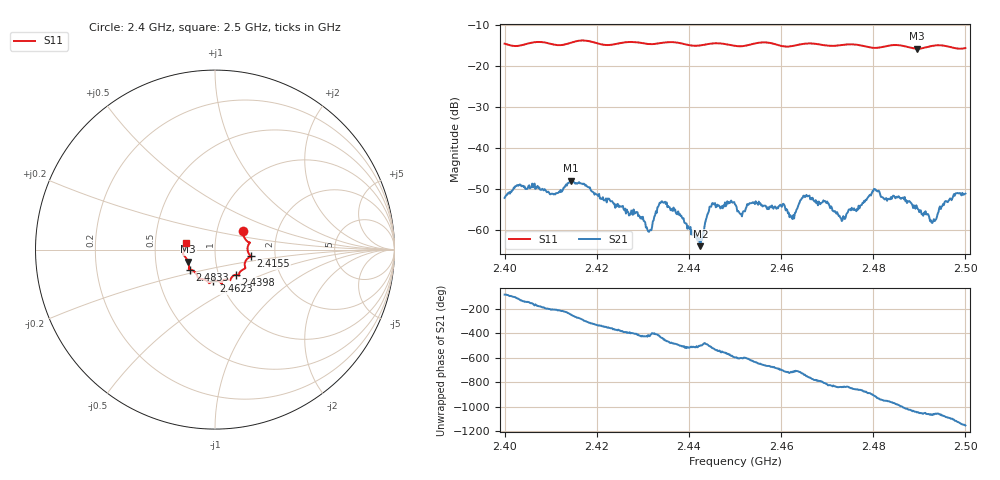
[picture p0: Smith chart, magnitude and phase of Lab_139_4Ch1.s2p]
# Hz S RI R 50
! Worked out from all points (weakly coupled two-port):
!   601 points, 2.4 GHz to 2.5 GHz, reference 50 ohm
!   highest |S21| = -48.02 dB at 2.4143 GHz (marker M1); lowest = -64.0 dB at 2.4425 GHz (marker M2)
!   lowest |S11| = -15.7 dB at 2.4895 GHz (marker M3), VSWR 1.39, Z = 36.7 - j5.14 ohm
!   |S11| at or under -10 dB: start of sweep to end of sweep
!   S12 and S22 are empty: the file has one direction only
!   S11 on the Smith chart (normalised r, x): 2.4 GHz: 1.34, +0.29; 2.4155 GHz: 1.49, -0.11; 2.4398 GHz: 1.21, -0.35; 2.4623 GHz: 0.92, -0.34; 2.4833 GHz: 0.74, -0.17; 2.5 GHz: 0.72, +0.06
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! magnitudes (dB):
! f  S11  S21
! 2.4 GHz  -14.5  -52.2
! 2.4143 GHz  -14.3  -48.0
! 2.4155 GHz  -13.9  -48.6
! 2.4167 GHz  -13.7  -48.7
! 2.4313 GHz  -14.6  -60.5
! 2.4333 GHz  -14.4  -54.3
! 2.4347 GHz  -14.2  -53.3
! 2.4398 GHz  -14.8  -59.1
! 2.4425 GHz  -14.9  -64.0
! 2.445 GHz  -14.4  -53.6
! 2.45 GHz  -15.0  -53.8
! 2.4603 GHz  -15.1  -53.7
! 2.4623 GHz  -15.1  -57.1
! 2.4647 GHz  -14.6  -52.2
! 2.4667 GHz  -14.4  -52.6
! 2.4735 GHz  -14.8  -56.7
! 2.4802 GHz  -15.5  -50.0
! 2.4833 GHz  -15.0  -52.4
! 2.4895 GHz  -15.7  -54.4
! 2.4932 GHz  -15.0  -57.4
! 2.4955 GHz  -15.0  -53.2
! 2.5 GHz  -15.5  -51.2
